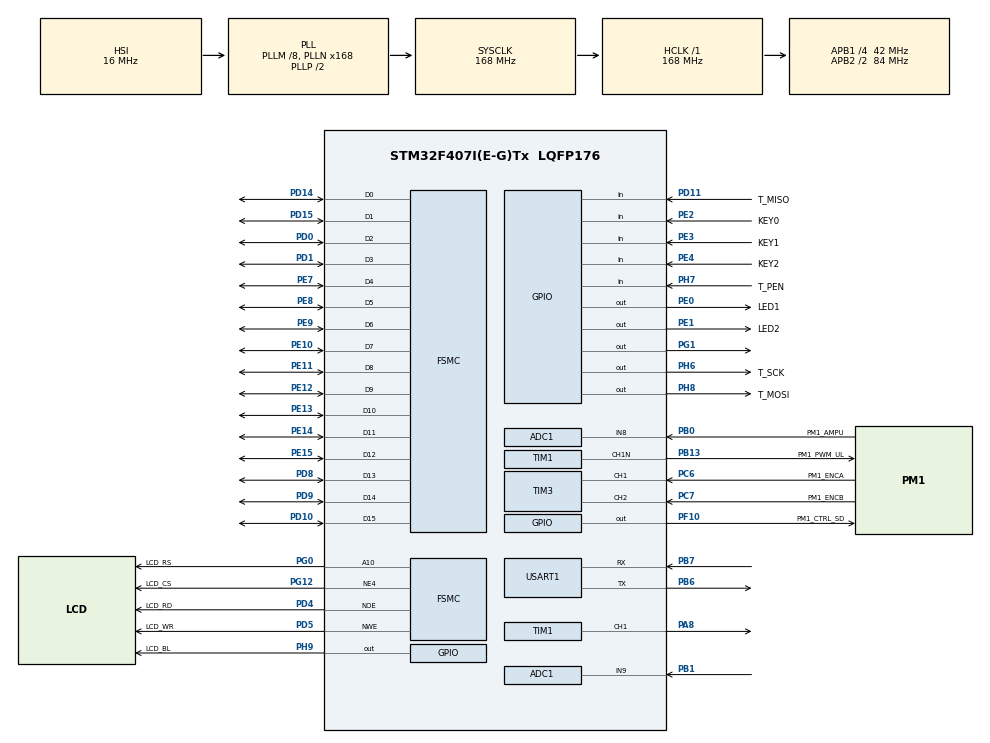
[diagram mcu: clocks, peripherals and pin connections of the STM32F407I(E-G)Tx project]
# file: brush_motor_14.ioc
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ADC1.Channel-0\#ChannelRegularConversion=ADC_CHANNEL_9
ADC1.Channel-1\#ChannelInjectedConversion=ADC_CHANNEL_8
ADC1.ContinuousConvMode=DISABLE
ADC1.DMAContinuousRequests=DISABLE
ADC1.ExternalTrigInjecConv=ADC_EXTERNALTRIGINJECCONV_T1_TRGO
ADC1.InjNumberOfConversion=1
ADC1.InjectedOffset-1\#ChannelInjectedConversion=0
ADC1.InjectedRank-1\#ChannelInjectedConversion=1
ADC1.NbrOfConversion=1
ADC1.NbrOfConversionFlag=1
ADC1.Rank-0\#ChannelRegularConversion=1
ADC1.SamplingTime-0\#ChannelRegularConversion=ADC_SAMPLETIME_28CYCLES
ADC1.SamplingTime-1\#ChannelInjectedConversion=ADC_SAMPLETIME_28CYCLES
ADC1.ScanConvMode=DISABLE
ADC1.master=1
FSMC.AccessMode4=FSMC_ACCESS_MODE_A
FSMC.AddressSetupTime4=2
FSMC.BusTurnAroundDuration4=0
FSMC.DataSetupTime4=5
FSMC.ExtendedAccessMode4=FSMC_ACCESS_MODE_A
FSMC.ExtendedAddressSetupTime4=0
FSMC.ExtendedBusTurnAroundDuration4=0
FSMC.ExtendedDataSetupTime4=255
FSMC.ExtendedMode4=FSMC_EXTENDED_MODE_ENABLE
FSMC.NSBank4=FSMC_NORSRAM_BANK4
FSMC.WriteOperation4=FSMC_WRITE_OPERATION_ENABLE
Mcu.Family=STM32F4
Mcu.Name=STM32F407I(E-G)Tx
Mcu.Package=LQFP176
NVIC.ADC_IRQn=true\:1\:0\:true\:false\:true\:true\:true\:true
NVIC.PriorityGroup=NVIC_PRIORITYGROUP_4
NVIC.TIM3_IRQn=true\:2\:0\:true\:false\:true\:true\:true\:true
NVIC.TIM6_DAC_IRQn=true\:3\:0\:true\:false\:true\:true\:true\:true
PA13.Mode=Serial_Wire
PA13.Signal=SYS_JTMS-SWDIO
PA14.Mode=Serial_Wire
PA14.Signal=SYS_JTCK-SWCLK
PA8.GPIO_Speed=GPIO_SPEED_FREQ_HIGH
PA8.Signal=S_TIM1_CH1
PB0.GPIO_Label=PM1_AMPU
PB0.Signal=ADCx_IN8
PB1.Signal=ADCx_IN9
PB13.GPIO_Label=PM1_PWM_UL
PB13.GPIO_PuPd=GPIO_NOPULL
PB13.GPIO_Speed=GPIO_SPEED_FREQ_HIGH
PB13.Mode=PWM Generation1 CH1 CH1N
PB13.Signal=TIM1_CH1N
PB6.Mode=Asynchronous
PB6.Signal=USART1_TX
PB7.Mode=Asynchronous
PB7.Signal=USART1_RX
PC14-OSC32_IN.Mode=LSE-External-Oscillator
PC14-OSC32_IN.Signal=RCC_OSC32_IN
PC15-OSC32_OUT.Mode=LSE-External-Oscillator
PC15-OSC32_OUT.Signal=RCC_OSC32_OUT
PC6.GPIO_Label=PM1_ENCA
PC6.GPIO_Speed=GPIO_SPEED_FREQ_HIGH
PC6.Signal=S_TIM3_CH1
PC7.GPIO_Label=PM1_ENCB
PC7.GPIO_Speed=GPIO_SPEED_FREQ_HIGH
PC7.Signal=S_TIM3_CH2
PD0.GPIO_PuPd=GPIO_PULLUP
PD0.Signal=FSMC_D2_DA2
PD1.GPIO_PuPd=GPIO_PULLUP
PD1.Signal=FSMC_D3_DA3
PD10.GPIO_PuPd=GPIO_PULLUP
PD10.Signal=FSMC_D15_DA15
PD11.GPIO_Label=T_MISO
PD11.Signal=GPIO_Input
PD14.GPIO_PuPd=GPIO_PULLUP
PD14.Signal=FSMC_D0_DA0
PD15.GPIO_PuPd=GPIO_PULLUP
PD15.Signal=FSMC_D1_DA1
PD4.GPIO_Label=LCD_RD
PD4.GPIO_PuPd=GPIO_PULLUP
PD4.Signal=FSMC_NOE
PD5.GPIO_Label=LCD_WR
PD5.GPIO_PuPd=GPIO_PULLUP
PD5.Signal=FSMC_NWE
PD8.GPIO_PuPd=GPIO_PULLUP
PD8.Signal=FSMC_D13_DA13
PD9.GPIO_PuPd=GPIO_PULLUP
PD9.Signal=FSMC_D14_DA14
PE0.GPIO_Label=LED1
PE0.PinState=GPIO_PIN_SET
PE0.Signal=GPIO_Output
PE1.GPIO_Label=LED2
PE1.PinState=GPIO_PIN_SET
PE1.Signal=GPIO_Output
PE10.GPIO_PuPd=GPIO_PULLUP
PE10.Signal=FSMC_D7_DA7
PE11.GPIO_PuPd=GPIO_PULLUP
PE11.Signal=FSMC_D8_DA8
PE12.GPIO_PuPd=GPIO_PULLUP
PE12.Signal=FSMC_D9_DA9
PE13.GPIO_PuPd=GPIO_PULLUP
PE13.Signal=FSMC_D10_DA10
PE14.GPIO_PuPd=GPIO_PULLUP
PE14.Signal=FSMC_D11_DA11
PE15.GPIO_PuPd=GPIO_PULLUP
PE15.Signal=FSMC_D12_DA12
PE2.GPIO_Label=KEY0
PE2.GPIO_PuPd=GPIO_PULLUP
PE2.Signal=GPIO_Input
PE3.GPIO_Label=KEY1
PE3.GPIO_PuPd=GPIO_PULLUP
PE3.Signal=GPIO_Input
PE4.GPIO_Label=KEY2
PE4.GPIO_PuPd=GPIO_PULLUP
PE4.Signal=GPIO_Input
PE7.GPIO_PuPd=GPIO_PULLUP
PE7.Signal=FSMC_D4_DA4
PE8.GPIO_PuPd=GPIO_PULLUP
PE8.Signal=FSMC_D5_DA5
PE9.GPIO_PuPd=GPIO_PULLUP
PE9.Signal=FSMC_D6_DA6
PF10.GPIO_Label=PM1_CTRL_SD
PF10.Signal=GPIO_Output
PG0.GPIO_Label=LCD_RS
PG0.GPIO_PuPd=GPIO_PULLUP
PG0.Signal=FSMC_A10
PG1.Signal=GPIO_Output
PG12.GPIO_Label=LCD_CS
PG12.GPIO_PuPd=GPIO_PULLUP
PG12.Mode=NorPsramChipSelect4_4
PG12.Signal=FSMC_NE4
PH0-OSC_IN.Mode=HSE-External-Oscillator
PH0-OSC_IN.Signal=RCC_OSC_IN
PH1-OSC_OUT.Mode=HSE-External-Oscillator
PH1-OSC_OUT.Signal=RCC_OSC_OUT
PH13.Signal=TIM8_CH1N
PH6.GPIO_Label=T_SCK
PH6.Signal=GPIO_Output
PH7.GPIO_Label=T_PEN
PH7.Signal=GPIO_Input
PH8.GPIO_Label=T_MOSI
PH8.Signal=GPIO_Output
PH9.GPIO_Label=LCD_BL
PH9.Signal=GPIO_Output
ProjectManager.HeapSize=0x200
ProjectManager.StackSize=0x400
ProjectManager.TargetToolchain=MDK-ARM V5.27
RCC.48MHZClocksFreq_Value=84000000
RCC.AHBFreq_Value=168000000
RCC.APB1CLKDivider=RCC_HCLK_DIV4
RCC.APB1Freq_Value=42000000
RCC.APB1TimFreq_Value=84000000
RCC.APB2CLKDivider=RCC_HCLK_DIV2
RCC.APB2Freq_Value=84000000
RCC.APB2TimFreq_Value=168000000
RCC.CortexFreq_Value=168000000
RCC.FLatency=FLASH_LATENCY_5
RCC.HCLKFreq_Value=168000000
RCC.HSE_VALUE=25000000
RCC.HSI_VALUE=16000000
RCC.PLLM=8
RCC.PLLN=168
RCC.SYSCLKFreq_VALUE=168000000
RCC.SYSCLKSource=RCC_SYSCLKSOURCE_PLLCLK
RCC.VCOOutputFreq_Value=336000000
SH.ADCx_IN8.0=ADC1_IN8,IN8
SH.ADCx_IN9.0=ADC1_IN9,IN9
SH.FSMC_A10.0=FSMC_A10,A10_4
SH.FSMC_D0_DA0.0=FSMC_D0,16b-d4
SH.FSMC_D10_DA10.0=FSMC_D10,16b-d4
SH.FSMC_D11_DA11.0=FSMC_D11,16b-d4
SH.FSMC_D12_DA12.0=FSMC_D12,16b-d4
SH.FSMC_D13_DA13.0=FSMC_D13,16b-d4
SH.FSMC_D14_DA14.0=FSMC_D14,16b-d4
SH.FSMC_D15_DA15.0=FSMC_D15,16b-d4
SH.FSMC_D1_DA1.0=FSMC_D1,16b-d4
SH.FSMC_D2_DA2.0=FSMC_D2,16b-d4
SH.FSMC_D3_DA3.0=FSMC_D3,16b-d4
SH.FSMC_D4_DA4.0=FSMC_D4,16b-d4
SH.FSMC_D5_DA5.0=FSMC_D5,16b-d4
SH.FSMC_D6_DA6.0=FSMC_D6,16b-d4
SH.FSMC_D7_DA7.0=FSMC_D7,16b-d4
SH.FSMC_D8_DA8.0=FSMC_D8,16b-d4
SH.FSMC_D9_DA9.0=FSMC_D9,16b-d4
SH.FSMC_NOE.0=FSMC_NOE,Lcd4
SH.FSMC_NWE.0=FSMC_NWE,Lcd4
SH.S_TIM1_CH1.0=TIM1_CH1,PWM Generation1 CH1 CH1N
SH.S_TIM3_CH1.0=TIM3_CH1,Encoder_Interface
SH.S_TIM3_CH2.0=TIM3_CH2,Encoder_Interface
TIM1.Channel-PWM\ Generation1\ CH1\ CH1N=TIM_CHANNEL_1
TIM1.CounterMode=TIM_COUNTERMODE_CENTERALIGNED1
TIM1.Period=2624
TIM1.Prescaler=1
TIM1.TIM_MasterOutputTrigger=TIM_TRGO_UPDATE
TIM1.TIM_MasterSlaveMode=TIM_MASTERSLAVEMODE_ENABLE
TIM3.EncoderMode=TIM_ENCODERMODE_TI12
TIM3.IC1Filter=10
TIM3.IC2Filter=10
TIM6.Period=999
TIM6.Prescaler=83
USART1.VirtualMode=VM_ASYNC
VP_TIM1_VS_ClockSourceINT.Mode=Internal
VP_TIM6_VS_ClockSourceINT.Mode=Enable_Timer
board=custom

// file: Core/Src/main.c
/* USER CODE BEGIN Header */
/**
  ******************************************************************************
  * @file           : main.c
  * @brief          : Main program body
  ******************************************************************************
  * @attention
  *
  * Copyright (c) 2026 STMicroelectronics.
  * All rights reserved.
  *
  * This software is licensed under terms that can be found in the LICENSE file
  * in the root directory of this software component.
  * If no LICENSE file comes with this software, it is provided AS-IS.
  *
  ******************************************************************************
  */
/* USER CODE END Header */
#include "main.h"
#include "adc.h"
#include "tim.h"
#include "usart.h"
#include "gpio.h"
#include "fsmc.h"

/* USER CODE BEGIN Includes */
#include <stdlib.h>
#include <stdio.h>
#include <string.h>
#include "bsp_lcd.h"
#include "bsp_key_led.h"
#include "bsp_delay.h"
#include "bsp_brush_motor.h"
#include "bsp_current_sensor.h"
#include "bsp_encoder.h"
#include "cur_speed_loop.h"
#include "user_config.h"
/* USER CODE END Includes */

/* USER CODE BEGIN PV */

BrushMotorConfig pm1_motor = {
    .htim         = &htim1,
    .tim_channel  = TIM_CHANNEL_1,
    .tim_arr      = 2625,   /* Period = 2625-1 = 2624, 168MHz/1/(2624+1)/2 = 16kHz center-aligned */
    .sd_port      = PM1_CTRL_SD_GPIO_Port,
    .sd_pin       = PM1_CTRL_SD_Pin
};

CurSpeedLoopCtrl cur_speed_loop;  /* 双环串级控制实例，一个实例控制一个电机 */

extern uint32_t adc_injected_data;
volatile int16_t  dbg_cur_duty = 0;  /* VOFA+ 显示：电流 PI 输出占空比 */

/* USER CODE END PV */

void SystemClock_Config(void);
/* USER CODE BEGIN PFP */
static void Sys_LCD_Update(void);
static void Sys_Serial_Output(void);
/* USER CODE END PFP */

/* USER CODE BEGIN 0 */

#define KEY_STEP_RPM  20.0f    /**< 按键加减速步长 (rpm) */
#define KEY_RPM_MAX   200.0f   /**< 转速上限 */
#define KEY_RPM_MIN   -200.0f  /**< 转速下限 */

/* 按键回调：每次按下 ±20rpm，首次按下自动 Start 双环 */
static void Key0_SpeedUp(void)
{
    /* KEY0: 加速 +STEP，上限 MAX */
    if (cur_speed_loop.mode != CUR_SPEED_LOOP_FULL)
    {
        cur_speed_loop.target_rpm = 0.0f;           /* 首次按下：从 0 开始加速 */
        CurSpeedLoop_Start(&cur_speed_loop);        /* 启动双环串级控制 */
        Led_On(LED1);                                /* LED1 亮 = 运行中 */
    }
    cur_speed_loop.target_rpm += KEY_STEP_RPM;       /* 目标转速 +20rpm */
    if (cur_speed_loop.target_rpm > KEY_RPM_MAX)     /* 上限钳位 */
        cur_speed_loop.target_rpm = KEY_RPM_MAX;
}

static void Key1_SpeedDown(void)
{
    /* KEY1: 减速 -STEP，下限 MIN */
    if (cur_speed_loop.mode != CUR_SPEED_LOOP_FULL)
    {
        cur_speed_loop.target_rpm = 0.0f;           /* 首次按下：从 0 开始减速 */
        CurSpeedLoop_Start(&cur_speed_loop);        /* 启动双环串级控制 */
        Led_On(LED1);                                /* LED1 亮 = 运行中 */
    }
    cur_speed_loop.target_rpm -= KEY_STEP_RPM;       /* 目标转速 -20rpm */
    if (cur_speed_loop.target_rpm < KEY_RPM_MIN)     /* 下限钳位 */
        cur_speed_loop.target_rpm = KEY_RPM_MIN;
}

static void Key2_Stop(void)
{
    /* KEY2: 停止 */
    CurSpeedLoop_Stop(&cur_speed_loop);              /* 停止双环控制（PWM清零 + SD拉低） */
    cur_speed_loop.target_rpm = 0.0f;                /* 目标转速归零 */
    Led_Off(LED1);                                   /* LED1 灭 = 停止 */
}

/* USER CODE END 0 */

int main(void)
{

  /* MCU Configuration--------------------------------------------------------*/

  /* Reset of all peripherals, Initializes the Flash interface and the Systick. */
  HAL_Init();

  /* Configure the system clock */
  SystemClock_Config();

  /* Initialize all configured peripherals */
  MX_GPIO_Init();
  MX_FSMC_Init();
  MX_USART1_UART_Init();
  MX_ADC1_Init();
  MX_TIM1_Init();
  MX_TIM3_Init();
  MX_TIM6_Init();
  /* USER CODE BEGIN 2 */
  DWT_Init();   /* DWT 延时，配合 bsp_delay 使用 */
  Key_Init();   /* 按键初始化（KEY0/KEY1/KEY2） */
  Led_Init();   /* LED 初始化（LED1=运行指示） */
  lcd_init();   /* LCD 初始化（FSMC 接口） */

  lcd_show_string(100, 10, 300, 32, 32, "Dr.GAO-Motor-1", RED);    /* 标题 */
  lcd_show_string(10, 60, 450, 24, 24, "Chap13: Cur-Speed PID", BLUE); /* 章节 */

  HAL_TIM_Base_Start(&htim1);   /* 启动 TIM1 基计数器，TRGO=Update 触发 ADC 注入转换（16kHz） */
  HAL_TIM_Base_Start_IT(&htim6); /* 启动 TIM6 周期中断（1kHz），内部软件分频至 100Hz */
  HAL_Delay(10);                                  /* 等待定时器稳定 */

  BrushMotor_Init(&pm1_motor);           /* 绑定 TIM1 CH1 到 pm1_motor */
  BrushMotor_BootstrapCharge();          /* IR2104 自举电容充电（必须先执行） */

  BrushMotor_SetDirection(MOTOR_FORWARD); /* 设置初始方向 */
  BrushMotor_SetSpeed(0);                 /* PWM 占空比 = 0（电机不转） */
  BrushMotor_Enable();                    /* SD 拉高，使能 IR2104 */
  HAL_Delay(500);                         /* 等待电机驱动自举电压稳定 */

  lcd_show_string(10, 240, 450, 24, 24, "Calibrating zero offset...", RED);
  BSP_CurrentSensor_Init(); /* 读取 ADC 零偏，校准 offset */
  lcd_show_string(10, 240, 450, 24, 24, "Zero offset calibrated.    ", GREEN);

  BrushMotor_Disable(); /* 校准完零偏后先禁用，等按键触发才使能 */

  BSP_Encoder_Init();                  /* 初始化编码器 GPIO 和变量 */
  BSP_Encoder_Start(ENCODER_PM1);      /* 启动 TIM3 编码器模式计数 */

  CurSpeedLoop_Init(&cur_speed_loop, &pm1_motor); /* 初始化双环控制器（参数来自 user_config.h） */

  Led_Off(LED1);  /* 初始化完成，灭灯 */

  /* USER CODE END 2 */

  /* Infinite loop */
  /* USER CODE BEGIN WHILE */
  {
    KeyPressedID key_id;
    uint16_t lcd_cnt  = 0;   /* LCD 刷新计数器：每 100 次循环（~500ms）刷新 */
    uint16_t send_cnt = 0;   /* 串口发送计数器：每 20 次循环（~100ms）发送 */

    while (1)
    {
      key_id = Key_Scan();   /* 扫描按键（消抖在 bsp_key_led.c 内部完成） */

      if (key_id == KEY0_Pressed)       Key0_SpeedUp();
      else if (key_id == KEY1_Pressed)  Key1_SpeedDown();
      else if (key_id == KEY2_Pressed)  Key2_Stop();

      if (++lcd_cnt >= 100)  { lcd_cnt = 0;  Sys_LCD_Update(); }   /* 100 × 5ms = 500ms */
      if (++send_cnt >= 20) { send_cnt = 0; Sys_Serial_Output(); } /* 20 × 5ms = 100ms */

      HAL_Delay(5);  /* 主循环节拍 = 5ms，降低按键扫描 CPU 占用 */
    }
  }
    /* USER CODE END WHILE */

}

void SystemClock_Config(void)
{
  RCC_OscInitTypeDef RCC_OscInitStruct = {0};
  RCC_ClkInitTypeDef RCC_ClkInitStruct = {0};

  /** Configure the main internal regulator output voltage
  */
  __HAL_RCC_PWR_CLK_ENABLE();
  __HAL_PWR_VOLTAGESCALING_CONFIG(PWR_REGULATOR_VOLTAGE_SCALE1);

  /** Initializes the RCC Oscillators according to the specified parameters
  * in the RCC_OscInitTypeDef structure.
  */
  RCC_OscInitStruct.OscillatorType = RCC_OSCILLATORTYPE_HSI;
  RCC_OscInitStruct.HSIState = RCC_HSI_ON;
  RCC_OscInitStruct.HSICalibrationValue = RCC_HSICALIBRATION_DEFAULT;
  RCC_OscInitStruct.PLL.PLLState = RCC_PLL_ON;
  RCC_OscInitStruct.PLL.PLLSource = RCC_PLLSOURCE_HSI;
  RCC_OscInitStruct.PLL.PLLM = 8;
  RCC_OscInitStruct.PLL.PLLN = 168;
  RCC_OscInitStruct.PLL.PLLP = RCC_PLLP_DIV2;
  RCC_OscInitStruct.PLL.PLLQ = 4;
  if (HAL_RCC_OscConfig(&RCC_OscInitStruct) != HAL_OK)
  {
    Error_Handler();
  }

  /** Initializes the CPU, AHB and APB buses clocks
  */
  RCC_ClkInitStruct.ClockType = RCC_CLOCKTYPE_HCLK|RCC_CLOCKTYPE_SYSCLK
                              |RCC_CLOCKTYPE_PCLK1|RCC_CLOCKTYPE_PCLK2;
  RCC_ClkInitStruct.SYSCLKSource = RCC_SYSCLKSOURCE_PLLCLK;
  RCC_ClkInitStruct.AHBCLKDivider = RCC_SYSCLK_DIV1;
  RCC_ClkInitStruct.APB1CLKDivider = RCC_HCLK_DIV4;
  RCC_ClkInitStruct.APB2CLKDivider = RCC_HCLK_DIV2;

  if (HAL_RCC_ClockConfig(&RCC_ClkInitStruct, FLASH_LATENCY_5) != HAL_OK)
  {
    Error_Handler();
  }
}

/* USER CODE BEGIN 4 */

/*==============================================================================
 * HAL 回调函数 — 都写在 main.c USER CODE 4 区域，不被 CubeMX 覆盖
 *============================================================================*/

/**
 * @brief TIM 周期+溢出回调
 * @note  TIM3 溢出 → 编码器溢出处理（16位计数器翻转）
 *        TIM6 溢出 → 每 1kHz 触发，cnt 累加到 SPEED_DIVIDER(10) 后执行速度外环
 */
void HAL_TIM_PeriodElapsedCallback(TIM_HandleTypeDef *htim)
{
    if (htim->Instance == TIM3)
    {
        BSP_Encoder_HandleOverflow(htim);  /* 处理 16 位编码器计数器溢出（正转 +65536，反转 -65536） */
    }
    else if (htim->Instance == TIM6)
    {
        static uint32_t speed_cnt = 0;
        CurSpeedLoop_CurrentISR(&cur_speed_loop); /* 1kHz：电流 PI（current_mA 由 ADC 回调更新） */
        if (++speed_cnt >= SPEED_DIVIDER)
        {
            speed_cnt = 0;
            BSP_Encoder_UpdateSpeed();
            CurSpeedLoop_SpeedTask(&cur_speed_loop);
        }
    }
}

void HAL_ADCEx_InjectedConvCpltCallback(ADC_HandleTypeDef *hadc)
{
    if (hadc->Instance == ADC1)
    {
        adc_injected_data = HAL_ADCEx_InjectedGetValue(hadc, ADC_INJECTED_RANK_1);
        BSP_CurrentSensor_Update();            /* 16kHz 过采样累加 → 每16次平均+LPF */
    }
}

/* LCD 双组对齐布局（字体 size=24，每字符 width = size/2 = 12px，屏幕 480×320）
 *
 *   格式："Label:值单位" 左右两组固定列对齐
 *     "Target:  200rpm      Actual:  200rpm"
 *     "I_set: +0.120A       I_meas: +0.120A"
 *     "I_err: +0.005A       Sp_err:  +200rpm"
 *
 *   左组 x=5  右组 x=245，值用 sprintf 固宽格式化保证列对齐
 *   最右 ~445px，480px 内有余量
 */
#define LCD_FONT_SZ   24                        /* 数据字体大小（字库支持 12/16/24/32） */
#define LCD_X_LEFT     5                        /* 左组 x */
#define LCD_X_RIGHT  245                        /* 右组 x */
#define LCD_ROW1_Y   120                        /* 行1 y：速度行 */
#define LCD_ROW2_Y   154                        /* 行2 y：电流行（120+24+10间距） */
#define LCD_ROW3_Y   188                        /* 行3 y：误差行 */

static void Sys_LCD_Update(void)
{
    char buf[20];
    uint16_t y;

    if (cur_speed_loop.mode == CUR_SPEED_LOOP_FULL)
    {
        lcd_show_string(10, 90, 470, 24, 24,
            "Mode: CUR-SPEED [RUN]      ", GREEN);

        /* Row 1: 速度 — Target:xxxrpm  Actual:xxxrpm */
        y = LCD_ROW1_Y;
        sprintf(buf, "Target:%5.0frpm ", cur_speed_loop.target_rpm);
        lcd_show_string(LCD_X_LEFT,  y, 240, LCD_FONT_SZ, LCD_FONT_SZ, buf, BLUE);
        sprintf(buf, "Actual:%5.0frpm", cur_speed_loop.spd_measured);
        lcd_show_string(LCD_X_RIGHT, y, 240, LCD_FONT_SZ, LCD_FONT_SZ, buf, BLUE);

        /* Row 2: 电流给定 / 实测 */
        y = LCD_ROW2_Y;
        sprintf(buf, "I_set:%+5.0fmA", cur_speed_loop.cur_setpoint);
        lcd_show_string(LCD_X_LEFT,  y, 240, LCD_FONT_SZ, LCD_FONT_SZ, buf, BLUE);
        sprintf(buf, "I_meas:%+5.0fmA", cur_speed_loop.cur_measured);
        lcd_show_string(LCD_X_RIGHT, y, 240, LCD_FONT_SZ, LCD_FONT_SZ, buf, BLUE);

        /* Row 3: 误差 */
        y = LCD_ROW3_Y;
        sprintf(buf, "I_err:%+5.0fmA", CurSpeedLoop_GetCurrentError(&cur_speed_loop));
        lcd_show_string(LCD_X_LEFT,  y, 240, LCD_FONT_SZ, LCD_FONT_SZ, buf, BLUE);
        sprintf(buf, "Sp_err:%+5.0frpm", CurSpeedLoop_GetSpeedError(&cur_speed_loop));
        lcd_show_string(LCD_X_RIGHT, y, 240, LCD_FONT_SZ, LCD_FONT_SZ, buf, BLUE);
    }
    else if (cur_speed_loop.mode == CUR_SPEED_LOOP_CURRENT_ONLY)
    {
        lcd_show_string(10, 90, 470, 24, 24,
            "Mode: CURRENT-ONLY [DEBUG] ", BLUE);
        /* 清除后两行数据区 */
        lcd_fill(0, LCD_ROW2_Y, 479, LCD_ROW3_Y + LCD_FONT_SZ, WHITE);
        y = LCD_ROW1_Y;
        sprintf(buf, "I_set:%+5.0fmA", cur_speed_loop.cur_setpoint);
        lcd_show_string(LCD_X_LEFT,  y, 240, LCD_FONT_SZ, LCD_FONT_SZ, buf, BLUE);
        sprintf(buf, "I_meas:%+5.0fmA", cur_speed_loop.cur_measured);
        lcd_show_string(LCD_X_RIGHT, y, 240, LCD_FONT_SZ, LCD_FONT_SZ, buf, BLUE);
    }
    else  /* STOPPED */
    {
        lcd_show_string(10, 90, 470, 24, 24,
            "Mode: STOPPED              ", BLUE);
        /* 清除三行数据区域，用背景色填充 */
        lcd_fill(0, LCD_ROW1_Y, 479, LCD_ROW3_Y + LCD_FONT_SZ, WHITE);
    }
}

#if SERIAL_DEBUG_ENABLE
/* 串口阻塞发送（主循环 ~100ms 调用一次，不阻塞 ISR） */
static void USART_SendString(const char *str)
{
    while (*str) {
        while (!(USART1->SR & USART_SR_TXE)); /* 等待发送寄存器空 */
        USART1->DR = (uint8_t)(*str++);       /* 逐字符发送 */
    }
}

/* VOFA+ FireWater 协议：逗号分隔浮点数帧，每 100ms 一帧 */
static void Sys_Serial_Output(void)
{
    char buf[80];
    sprintf(buf, "%.1f,%.1f,%.1f,%.1f,%d\r\n",
            cur_speed_loop.target_rpm,      /* 通道1: 目标转速 rpm */
            cur_speed_loop.spd_measured,     /* 通道2: 实测转速 rpm */
            cur_speed_loop.cur_setpoint,     /* 通道3: 电流给定(mA) = 速度PID输出 */
            cur_speed_loop.cur_measured,     /* 通道4: 实测电流(mA) = 滤波后 ADC */
            (int)dbg_cur_duty);              /* 通道5: PWM 占空比（带符号）*/
    USART_SendString(buf);
}
#endif
/* USER CODE END 4 */

void Error_Handler(void)
{
  __disable_irq();
  while (1)
  {
  }
}
